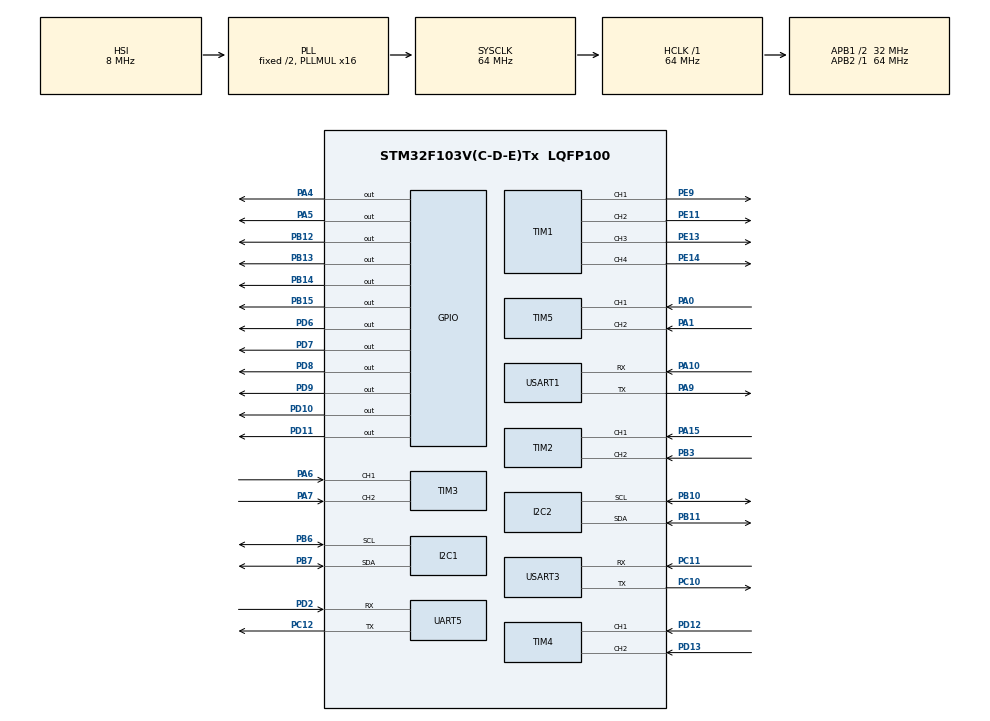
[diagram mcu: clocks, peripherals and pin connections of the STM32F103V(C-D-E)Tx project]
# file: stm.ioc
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Mcu.Family=STM32F1
Mcu.Name=STM32F103V(C-D-E)Tx
Mcu.Package=LQFP100
NVIC.PriorityGroup=NVIC_PRIORITYGROUP_4
PA0-WKUP.Signal=S_TIM5_CH1
PA1.Signal=S_TIM5_CH2
PA10.Mode=Asynchronous
PA10.Signal=USART1_RX
PA13.Mode=Serial_Wire
PA13.Signal=SYS_JTMS-SWDIO
PA14.Mode=Serial_Wire
PA14.Signal=SYS_JTCK-SWCLK
PA15.Signal=S_TIM2_CH1_ETR
PA4.Signal=GPIO_Output
PA5.Signal=GPIO_Output
PA6.Signal=S_TIM3_CH1
PA7.Signal=S_TIM3_CH2
PA9.Mode=Asynchronous
PA9.Signal=USART1_TX
PB10.Mode=I2C
PB10.Signal=I2C2_SCL
PB11.Mode=I2C
PB11.Signal=I2C2_SDA
PB12.Signal=GPIO_Output
PB13.Signal=GPIO_Output
PB14.Signal=GPIO_Output
PB15.Signal=GPIO_Output
PB3.Signal=S_TIM2_CH2
PB6.Mode=I2C
PB6.Signal=I2C1_SCL
PB7.Mode=I2C
PB7.Signal=I2C1_SDA
PC10.Mode=Asynchronous
PC10.Signal=USART3_TX
PC11.Mode=Asynchronous
PC11.Signal=USART3_RX
PC12.Mode=Asynchronous
PC12.Signal=UART5_TX
PD10.Signal=GPIO_Output
PD11.Signal=GPIO_Output
PD12.Signal=S_TIM4_CH1
PD13.Signal=S_TIM4_CH2
PD2.Mode=Asynchronous
PD2.Signal=UART5_RX
PD6.Signal=GPIO_Output
PD7.Signal=GPIO_Output
PD8.Signal=GPIO_Output
PD9.Signal=GPIO_Output
PE11.Signal=S_TIM1_CH2
PE13.Signal=S_TIM1_CH3
PE14.Signal=S_TIM1_CH4
PE9.Signal=S_TIM1_CH1
ProjectManager.HeapSize=0x200
ProjectManager.StackSize=0x400
ProjectManager.TargetToolchain=MDK-ARM V5.32
RCC.AHBFreq_Value=64000000
RCC.APB1CLKDivider=RCC_HCLK_DIV2
RCC.APB1Freq_Value=32000000
RCC.APB1TimFreq_Value=64000000
RCC.APB2Freq_Value=64000000
RCC.APB2TimFreq_Value=64000000
RCC.HCLKFreq_Value=64000000
RCC.PLLMUL=RCC_PLL_MUL16
RCC.SYSCLKFreq_VALUE=64000000
RCC.SYSCLKSource=RCC_SYSCLKSOURCE_PLLCLK
RCC.USBFreq_Value=64000000
SH.S_TIM1_CH1.0=TIM1_CH1,PWM Generation1 CH1
SH.S_TIM1_CH2.0=TIM1_CH2,PWM Generation2 CH2
SH.S_TIM1_CH3.0=TIM1_CH3,PWM Generation3 CH3
SH.S_TIM1_CH4.0=TIM1_CH4,PWM Generation4 CH4
SH.S_TIM2_CH1_ETR.0=TIM2_CH1,Encoder_Interface
SH.S_TIM2_CH2.0=TIM2_CH2,Encoder_Interface
SH.S_TIM3_CH1.0=TIM3_CH1,Encoder_Interface
SH.S_TIM3_CH2.0=TIM3_CH2,Encoder_Interface
SH.S_TIM4_CH1.0=TIM4_CH1,Encoder_Interface
SH.S_TIM4_CH2.0=TIM4_CH2,Encoder_Interface
SH.S_TIM5_CH1.0=TIM5_CH1,Encoder_Interface
SH.S_TIM5_CH2.0=TIM5_CH2,Encoder_Interface
TIM1.Channel-PWM\ Generation1\ CH1=TIM_CHANNEL_1
TIM1.Channel-PWM\ Generation2\ CH2=TIM_CHANNEL_2
TIM1.Channel-PWM\ Generation3\ CH3=TIM_CHANNEL_3
TIM1.Channel-PWM\ Generation4\ CH4=TIM_CHANNEL_4
UART5.VirtualMode=Asynchronous
USART1.VirtualMode=VM_ASYNC
USART3.VirtualMode=VM_ASYNC
VP_TIM2_VS_OPM.Mode=OPM_bit
board=custom

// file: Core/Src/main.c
/* USER CODE BEGIN Header */
/**
  ******************************************************************************
  * @file           : main.c
  * @brief          : Main program body
  ******************************************************************************
  * @attention
  *
  * Copyright (c) 2026 STMicroelectronics.
  * All rights reserved.
  *
  * This software is licensed under terms that can be found in the LICENSE file
  * in the root directory of this software component.
  * If no LICENSE file comes with this software, it is provided AS-IS.
  *
  ******************************************************************************
  */
/* USER CODE END Header */
#include "main.h"
#include "i2c.h"
#include "tim.h"
#include "usart.h"
#include "gpio.h"

/* USER CODE BEGIN Includes */
#include "chassis_control.h"
#include "chassis_protocol.h"
#include "nav_task.h"
#include "motion_control.h"
#include "param_store.h"
#include "board_ui.h"
/* USER CODE END Includes */

void SystemClock_Config(void);

int main(void)
{

  /* MCU Configuration--------------------------------------------------------*/

  /* Reset of all peripherals, Initializes the Flash interface and the Systick. */
  HAL_Init();

  /* Configure the system clock */
  SystemClock_Config();

  /* Initialize all configured peripherals */
  MX_GPIO_Init();
  MX_I2C1_Init();
  MX_I2C2_Init();
  MX_TIM1_Init();
  MX_TIM2_Init();
  MX_TIM3_Init();
  MX_TIM4_Init();
  MX_TIM5_Init();
  MX_UART5_Init();
  MX_USART1_UART_Init();
  MX_USART3_UART_Init();
  /* USER CODE BEGIN 2 */
  chassis_control_init();
  board_ui_init();
  nav_task_init();
  motion_control_init();
  param_store_init();
  nav_task_initial_pose();
  chassis_protocol_init();
  /* USER CODE END 2 */

  /* Infinite loop */
  while (1)
  {

    /* USER CODE BEGIN 3 */
    uint32_t now_ms = HAL_GetTick();

    chassis_protocol_poll(now_ms);
    nav_task_update(now_ms);
    motion_control_update(now_ms);
    board_ui_update(now_ms);
  }
  /* USER CODE END 3 */
}

void SystemClock_Config(void)
{
  RCC_OscInitTypeDef RCC_OscInitStruct = {0};
  RCC_ClkInitTypeDef RCC_ClkInitStruct = {0};

  /** Initializes the RCC Oscillators according to the specified parameters
  * in the RCC_OscInitTypeDef structure.
  */
  RCC_OscInitStruct.OscillatorType = RCC_OSCILLATORTYPE_HSI;
  RCC_OscInitStruct.HSIState = RCC_HSI_ON;
  RCC_OscInitStruct.HSICalibrationValue = RCC_HSICALIBRATION_DEFAULT;
  RCC_OscInitStruct.PLL.PLLState = RCC_PLL_ON;
  RCC_OscInitStruct.PLL.PLLSource = RCC_PLLSOURCE_HSI_DIV2;
  RCC_OscInitStruct.PLL.PLLMUL = RCC_PLL_MUL16;
  if (HAL_RCC_OscConfig(&RCC_OscInitStruct) != HAL_OK)
  {
    Error_Handler();
  }

  /** Initializes the CPU, AHB and APB buses clocks
  */
  RCC_ClkInitStruct.ClockType = RCC_CLOCKTYPE_HCLK|RCC_CLOCKTYPE_SYSCLK
                              |RCC_CLOCKTYPE_PCLK1|RCC_CLOCKTYPE_PCLK2;
  RCC_ClkInitStruct.SYSCLKSource = RCC_SYSCLKSOURCE_PLLCLK;
  RCC_ClkInitStruct.AHBCLKDivider = RCC_SYSCLK_DIV1;
  RCC_ClkInitStruct.APB1CLKDivider = RCC_HCLK_DIV2;
  RCC_ClkInitStruct.APB2CLKDivider = RCC_HCLK_DIV1;

  if (HAL_RCC_ClockConfig(&RCC_ClkInitStruct, FLASH_LATENCY_2) != HAL_OK)
  {
    Error_Handler();
  }
}

void Error_Handler(void)
{
  __disable_irq();
  while (1)
  {
  }
}
